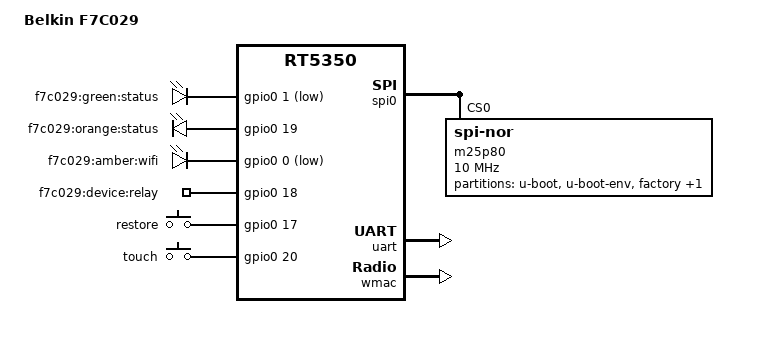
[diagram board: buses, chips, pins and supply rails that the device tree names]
/dts-v1/;

#include "rt5350.dtsi"

#include <dt-bindings/gpio/gpio.h>
#include <dt-bindings/input/input.h>

/ {
	compatible = "belkin,f7c029", "ralink,rt5350-soc";
	model = "Belkin F7C029";

	chosen {
		bootargs = "console=ttyS1,57600";
	};

	aliases {
		led-boot = &led_status_orange;
		led-failsafe = &led_status_orange;
		led-running = &led_status_orange;
		led-upgrade = &led_status_orange;
	};
	
	leds {
		compatible = "gpio-leds";

		status {
			label = "f7c029:green:status";
			gpios = <&gpio0 1 GPIO_ACTIVE_LOW>;
		};

		led_status_orange: orange {
			label = "f7c029:orange:status";
			gpios = <&gpio0 19 GPIO_ACTIVE_HIGH>;
		};

		wifi {
			label = "f7c029:amber:wifi";
			gpios = <&gpio0 0 GPIO_ACTIVE_LOW>;
			linux,default-trigger = "phy0tx";
		};

		relay {
			label = "f7c029:device:relay";
			gpios = <&gpio0 18 GPIO_ACTIVE_HIGH>;
			default-state = "on";
		};
	};

	keys {
		compatible = "gpio-keys-polled";
		poll-interval = <20>;

		restore {
			label = "restore";
			gpios = <&gpio0 17 GPIO_ACTIVE_HIGH>;
			linux,code = <KEY_RESTART>;
		};

		touch {
			label = "touch";
			gpios = <&gpio0 20 GPIO_ACTIVE_HIGH>;
			linux,code = <BTN_0>;
		};
	};
};

&spi0 {
	status = "okay";

	m25p80@0 {
		compatible = "jedec,spi-nor";
		reg = <0>;
		linux,modalias = "m25p80", "w25q128";
		spi-max-frequency = <10000000>;

		partitions {
			compatible = "fixed-partitions";
			#address-cells = <1>;
			#size-cells = <1>;

			partition@0 {
				label = "u-boot";
				reg = <0x0 0x30000>;
				read-only;
			};

			partition@30000 {
				label = "u-boot-env";
				reg = <0x30000 0x10000>;
				read-only;
			};

			factory: partition@40000 {
				label = "factory";
				reg = <0x40000 0x10000>;
				read-only;
			};

			partition@50000 {
				compatible = "denx,uimage";
				label = "firmware";
				reg = <0x50000 0xfb0000>;
			};
		};	
	};
};

&uart {
	status = "okay";
};

&wmac {
	ralink,mtd-eeprom = <&factory 0>;
};

&pinctrl {
	state_default: pinctrl0 {
		gpio {
			ralink,group = "i2c" , "jtag";
			ralink,function = "gpio";
		};
		
		uartf_gpio {
			ralink,group = "uartf";
			ralink,function = "gpio uartf";
		};
	};
};
